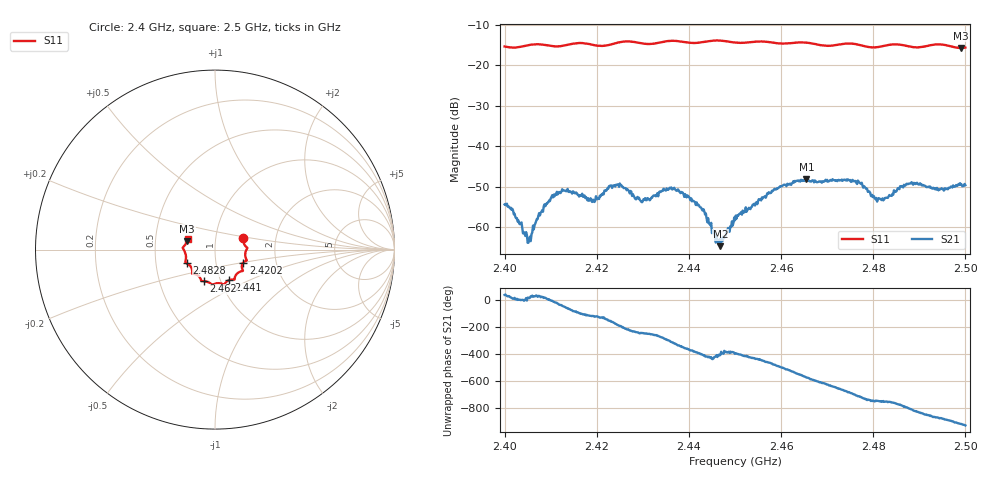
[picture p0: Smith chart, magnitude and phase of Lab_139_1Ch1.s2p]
# Hz S RI R 50
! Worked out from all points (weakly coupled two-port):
!   601 points, 2.4 GHz to 2.5 GHz, reference 50 ohm
!   highest |S21| = -48.10 dB at 2.4655 GHz (marker M1); lowest = -64.6 dB at 2.4468 GHz (marker M2)
!   lowest |S11| = -15.8 dB at 2.499 GHz (marker M3), VSWR 1.39, Z = 36.4 + j3.55 ohm
!   |S11| at or under -10 dB: start of sweep to end of sweep
!   S12 and S22 are empty: the file has one direction only
!   S11 on the Smith chart (normalised r, x): 2.4 GHz: 1.36, +0.17; 2.4202 GHz: 1.36, -0.20; 2.441 GHz: 1.10, -0.39; 2.462 GHz: 0.83, -0.30; 2.4828 GHz: 0.72, -0.11; 2.5 GHz: 0.73, +0.09
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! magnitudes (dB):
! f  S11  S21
! 2.4 GHz  -15.4  -54.3
! 2.4053 GHz  -15.0  -63.0
! 2.4108 GHz  -15.4  -52.3
! 2.4167 GHz  -14.6  -52.1
! 2.4202 GHz  -15.2  -53.0
! 2.4247 GHz  -14.4  -49.4
! 2.4298 GHz  -14.7  -53.8
! 2.4333 GHz  -14.5  -52.3
! 2.4363 GHz  -14.0  -50.6
! 2.441 GHz  -14.6  -53.5
! 2.4468 GHz  -14.0  -64.6
! 2.45 GHz  -14.4  -58.2
! 2.462 GHz  -14.6  -49.2
! 2.4655 GHz  -14.5  -48.1
! 2.4667 GHz  -14.6  -48.5
! 2.4763 GHz  -14.9  -49.0
! 2.4805 GHz  -15.6  -53.1
! 2.4828 GHz  -15.1  -52.7
! 2.4833 GHz  -15.0  -52.4
! 2.4878 GHz  -15.4  -49.2
! 2.499 GHz  -15.8  -49.5
! 2.5 GHz  -15.7  -49.6
